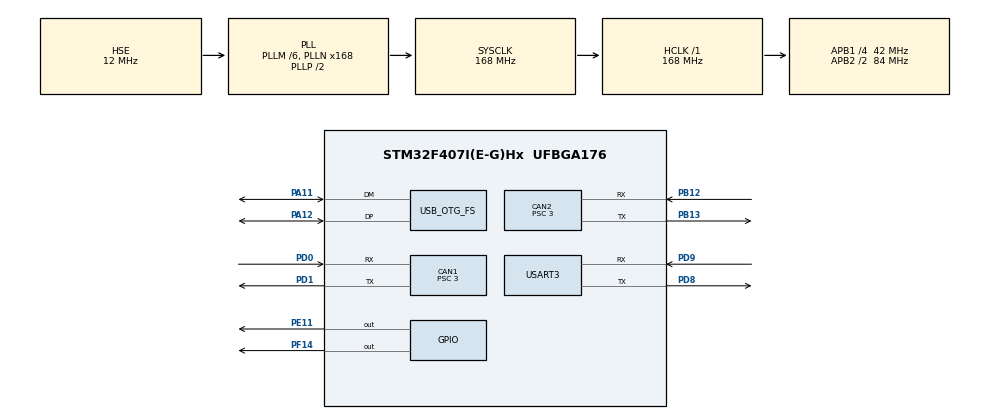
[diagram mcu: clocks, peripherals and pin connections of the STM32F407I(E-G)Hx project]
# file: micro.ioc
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CAN1.BS1=CAN_BS1_10TQ
CAN1.BS2=CAN_BS2_3TQ
CAN1.CalculateBaudRate=1000000
CAN1.CalculateTimeBit=1000
CAN1.CalculateTimeQuantum=71.42857142857143
CAN1.Prescaler=3
CAN2.BS1=CAN_BS1_10TQ
CAN2.BS2=CAN_BS2_3TQ
CAN2.CalculateBaudRate=1000000
CAN2.CalculateTimeBit=1000
CAN2.CalculateTimeQuantum=71.42857142857143
CAN2.Prescaler=3
FREERTOS.Tasks01=defaultTask,24,3000,StartDefaultTask,Default,NULL,Dynamic,NULL,NULL
FREERTOS.configMINIMAL_STACK_SIZE=3000
Mcu.Family=STM32F4
Mcu.Name=STM32F407I(E-G)Hx
Mcu.Package=UFBGA176
NVIC.CAN1_RX0_IRQn=true\:5\:0\:false\:false\:true\:true\:true\:true\:true
NVIC.CAN2_RX0_IRQn=true\:5\:0\:false\:false\:true\:true\:true\:true\:true
NVIC.OTG_FS_IRQn=true\:5\:0\:false\:false\:true\:true\:false\:true\:true
NVIC.PriorityGroup=NVIC_PRIORITYGROUP_4
NVIC.TIM6_DAC_IRQn=true\:15\:0\:false\:false\:true\:false\:false\:true\:true
NVIC.TimeBase=TIM6_DAC_IRQn
NVIC.TimeBaseIP=TIM6
PA11.Mode=Device_Only
PA11.Signal=USB_OTG_FS_DM
PA12.Mode=Device_Only
PA12.Signal=USB_OTG_FS_DP
PA13.Mode=Serial_Wire
PA13.Signal=SYS_JTMS-SWDIO
PA14.Mode=Serial_Wire
PA14.Signal=SYS_JTCK-SWCLK
PB12.Mode=CAN_Activate
PB12.Signal=CAN2_RX
PB13.Mode=CAN_Activate
PB13.Signal=CAN2_TX
PD0.Mode=CAN_Activate
PD0.Signal=CAN1_RX
PD1.Mode=CAN_Activate
PD1.Signal=CAN1_TX
PD8.Mode=Asynchronous
PD8.Signal=USART3_TX
PD9.Mode=Asynchronous
PD9.Signal=USART3_RX
PE11.Signal=GPIO_Output
PF14.Signal=GPIO_Output
PH0-OSC_IN.Mode=HSE-External-Oscillator
PH0-OSC_IN.Signal=RCC_OSC_IN
PH1-OSC_OUT.Mode=HSE-External-Oscillator
PH1-OSC_OUT.Signal=RCC_OSC_OUT
ProjectManager.HeapSize=0x200
ProjectManager.StackSize=0x400
ProjectManager.TargetToolchain=CMake
RCC.48MHZClocksFreq_Value=48000000
RCC.AHBFreq_Value=168000000
RCC.APB1CLKDivider=RCC_HCLK_DIV4
RCC.APB1Freq_Value=42000000
RCC.APB1TimFreq_Value=84000000
RCC.APB2CLKDivider=RCC_HCLK_DIV2
RCC.APB2Freq_Value=84000000
RCC.APB2TimFreq_Value=168000000
RCC.CortexFreq_Value=168000000
RCC.HCLKFreq_Value=168000000
RCC.HSE_VALUE=12000000
RCC.HSI_VALUE=16000000
RCC.LSE_VALUE=32768
RCC.PLLM=6
RCC.PLLN=168
RCC.PLLQ=7
RCC.SYSCLKFreq_VALUE=168000000
RCC.SYSCLKSource=RCC_SYSCLKSOURCE_PLLCLK
RCC.VCOOutputFreq_Value=336000000
USART3.VirtualMode=VM_ASYNC
USB_DEVICE.CLASS_NAME_FS=CDC
USB_DEVICE.VirtualMode-CDC_FS=Cdc
USB_DEVICE.VirtualModeFS=Cdc_FS
USB_OTG_FS.VirtualMode=Device_Only
VP_FREERTOS_VS_CMSIS_V2.Mode=CMSIS_V2
VP_SYS_VS_tim6.Mode=TIM6
VP_USB_DEVICE_VS_USB_DEVICE_CDC_FS.Mode=CDC_FS
board=custom

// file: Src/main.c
/* USER CODE BEGIN Header */
/**
 ******************************************************************************
 * @file           : main.c
 * @brief          : Main program body
 ******************************************************************************
 * @attention
 *
 * Copyright (c) 2026 STMicroelectronics.
 * All rights reserved.
 *
 * This software is licensed under terms that can be found in the LICENSE file
 * in the root directory of this software component.
 * If no LICENSE file comes with this software, it is provided AS-IS.
 *
 ******************************************************************************
 */
/* USER CODE END Header */
#include "main.h"
#include "cmsis_os.h"
#include "can.h"
#include "usart.h"
#include "usb_device.h"
#include "gpio.h"

void SystemClock_Config(void);
void MX_FREERTOS_Init(void);

int main(void)
{

  /* MCU Configuration--------------------------------------------------------*/

  /* Reset of all peripherals, Initializes the Flash interface and the Systick. */
  HAL_Init();

  /* Configure the system clock */
  SystemClock_Config();

  /* Initialize all configured peripherals */
  MX_GPIO_Init();
  MX_CAN1_Init();
  MX_CAN2_Init();
  MX_USART3_UART_Init();

  /* Init scheduler */
  osKernelInitialize();  /* Call init function for freertos objects (in cmsis_os2.c) */
  MX_FREERTOS_Init();

  /* Start scheduler */
  osKernelStart();

  /* We should never get here as control is now taken by the scheduler */

  /* Infinite loop */
    while (1) {

    /* USER CODE BEGIN 3 */
        HAL_GPIO_TogglePin(GPIOE, GPIO_PIN_11);

        HAL_Delay(100);
    }
  /* USER CODE END 3 */
}

void SystemClock_Config(void)
{
  RCC_OscInitTypeDef RCC_OscInitStruct = {0};
  RCC_ClkInitTypeDef RCC_ClkInitStruct = {0};

  /** Configure the main internal regulator output voltage
  */
  __HAL_RCC_PWR_CLK_ENABLE();
  __HAL_PWR_VOLTAGESCALING_CONFIG(PWR_REGULATOR_VOLTAGE_SCALE1);

  /** Initializes the RCC Oscillators according to the specified parameters
  * in the RCC_OscInitTypeDef structure.
  */
  RCC_OscInitStruct.OscillatorType = RCC_OSCILLATORTYPE_HSE;
  RCC_OscInitStruct.HSEState = RCC_HSE_ON;
  RCC_OscInitStruct.PLL.PLLState = RCC_PLL_ON;
  RCC_OscInitStruct.PLL.PLLSource = RCC_PLLSOURCE_HSE;
  RCC_OscInitStruct.PLL.PLLM = 6;
  RCC_OscInitStruct.PLL.PLLN = 168;
  RCC_OscInitStruct.PLL.PLLP = RCC_PLLP_DIV2;
  RCC_OscInitStruct.PLL.PLLQ = 7;
  if (HAL_RCC_OscConfig(&RCC_OscInitStruct) != HAL_OK)
  {
    Error_Handler();
  }

  /** Initializes the CPU, AHB and APB buses clocks
  */
  RCC_ClkInitStruct.ClockType = RCC_CLOCKTYPE_HCLK|RCC_CLOCKTYPE_SYSCLK
                              |RCC_CLOCKTYPE_PCLK1|RCC_CLOCKTYPE_PCLK2;
  RCC_ClkInitStruct.SYSCLKSource = RCC_SYSCLKSOURCE_PLLCLK;
  RCC_ClkInitStruct.AHBCLKDivider = RCC_SYSCLK_DIV1;
  RCC_ClkInitStruct.APB1CLKDivider = RCC_HCLK_DIV4;
  RCC_ClkInitStruct.APB2CLKDivider = RCC_HCLK_DIV2;

  if (HAL_RCC_ClockConfig(&RCC_ClkInitStruct, FLASH_LATENCY_5) != HAL_OK)
  {
    Error_Handler();
  }
}

void HAL_TIM_PeriodElapsedCallback(TIM_HandleTypeDef *htim)
{
  if (htim->Instance == TIM6)
  {
    HAL_IncTick();
  }
}

void Error_Handler(void)
{
    __disable_irq();
    while (1) {
    }
}

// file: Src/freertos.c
/* USER CODE BEGIN Header */
/**
 ******************************************************************************
 * File Name          : freertos.c
 * Description        : Code for freertos applications
 ******************************************************************************
 * @attention
 *
 * Copyright (c) 2026 STMicroelectronics.
 * All rights reserved.
 *
 * This software is licensed under terms that can be found in the LICENSE file
 * in the root directory of this software component.
 * If no LICENSE file comes with this software, it is provided AS-IS.
 *
 ******************************************************************************
 */
/* USER CODE END Header */

#include "FreeRTOS.h"

#include "cmsis_os.h"
#include "main.h"
#include "task.h"

/* USER CODE BEGIN Includes */
#include <rcl/error_handling.h>
#include <rcl/rcl.h>
#include <rclc/executor.h>
#include <rclc/rclc.h>
#include <rmw_microros/rmw_microros.h>
#include <std_msgs/msg/int32.h>
#include <uxr/client/transport.h>
/* USER CODE END Includes */

/* USER CODE BEGIN PTD */

// トランスポート関数の前方宣言
bool cubemx_transport_open(struct uxrCustomTransport* transport);
bool cubemx_transport_close(struct uxrCustomTransport* transport);
size_t cubemx_transport_write(
    struct uxrCustomTransport* transport, const uint8_t* buf, size_t len, uint8_t* errcode
);
size_t cubemx_transport_read(
    struct uxrCustomTransport* transport, uint8_t* buf, size_t len, int timeout, uint8_t* errcode
);
/* USER CODE END PTD */

/* USER CODE BEGIN Variables */
rcl_subscription_t subscriber;
std_msgs__msg__Int32 recv_msg;
/* USER CODE END Variables */
/* Definitions for defaultTask */
osThreadId_t defaultTaskHandle;
const osThreadAttr_t defaultTask_attributes = {
    .name       = "defaultTask",
    .stack_size = 3000 * 4,
    .priority   = (osPriority_t)osPriorityNormal,
};

/* USER CODE BEGIN FunctionPrototypes */
void subscription_callback(const void* msg_in)
{
    const std_msgs__msg__Int32* msg = (const std_msgs__msg__Int32*)msg_in;
    // 受け取った値: msg->data
    // ここに処理を書く（例：LEDのON/OFF、モーター制御など）
    if (msg->data == 1) {
        HAL_GPIO_WritePin(GPIOE, GPIO_PIN_11, GPIO_PIN_SET);
    } else {
        HAL_GPIO_WritePin(GPIOE, GPIO_PIN_11, GPIO_PIN_RESET);
    }
}
/* USER CODE END FunctionPrototypes */

void StartDefaultTask(void* argument);

extern void MX_USB_DEVICE_Init(void);
void MX_FREERTOS_Init(void); /* (MISRA C 2004 rule 8.1) */

void MX_FREERTOS_Init(void)
{

    /* Create the thread(s) */
    /* creation of defaultTask */
    defaultTaskHandle = osThreadNew(StartDefaultTask, NULL, &defaultTask_attributes);

}

void StartDefaultTask(void* argument)
{
    /* init code for USB_DEVICE */
    MX_USB_DEVICE_Init();
    /* USER CODE BEGIN StartDefaultTask */

    osDelay(2000);  // USB安定化待ち

    rmw_uros_set_custom_transport(
        true,
        NULL,
        cubemx_transport_open,
        cubemx_transport_close,
        cubemx_transport_write,
        cubemx_transport_read
    );

    rcl_allocator_t allocator = rcl_get_default_allocator();
    rclc_support_t support;
    rclc_support_init(&support, 0, NULL, &allocator);

    rcl_node_t node;
    rclc_node_init_default(&node, "stm32_node", "", &support);

    rclc_subscription_init_default(
        &subscriber, &node, ROSIDL_GET_MSG_TYPE_SUPPORT(std_msgs, msg, Int32), "stm32_sub"
    );

    rclc_executor_t executor;
    rclc_executor_init(&executor, &support.context, 1, &allocator);
    rclc_executor_add_subscription(
        &executor, &subscriber, &recv_msg, &subscription_callback, ON_NEW_DATA
    );

    for (;;) {
        rclc_executor_spin_some(&executor, RCL_MS_TO_NS(10));
        osDelay(10);
    }
    /* USER CODE END StartDefaultTask */
}
